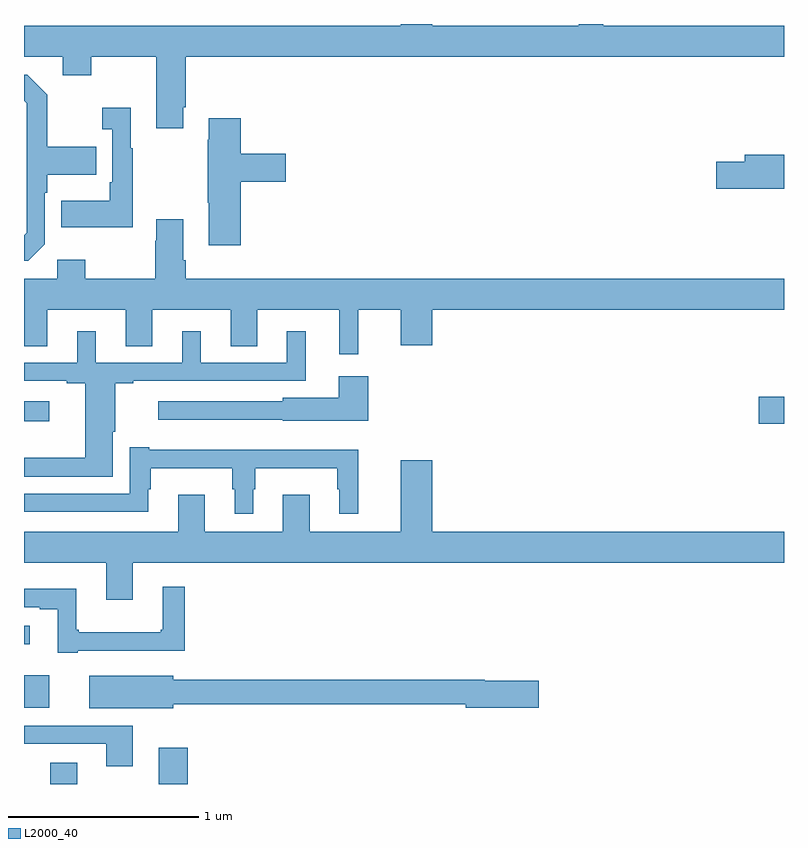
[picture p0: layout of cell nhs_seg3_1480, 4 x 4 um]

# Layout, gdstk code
import gdstk
lib = gdstk.Library(unit=1e-6, precision=1e-09)
def R(c, l, rs):  # rectangles x0, y0, x1, y1
    for r in rs: c.add(gdstk.rectangle(r[:2], r[2:], *l))
def P(c, l, *ps):  # polygons
    for p in ps: c.add(gdstk.Polygon(p, *l))
L2000_40 = (2000, 40)

nhs_seg3_1480 = lib.new_cell('nhs_seg3_1480')
R(nhs_seg3_1480, L2000_40, [(187.139,718.4,187.279,718.513), (187.709,718.4,187.862,718.591), (187,718.802,187.132,718.972), (187,719.136,187.03,719.232), (190.866,720.296,191,720.438), (187,720.308,187.132,720.415)])
P(nhs_seg3_1480, L2000_40, [(187.837,721.963),(187.85,721.963),(187.85,722.228),(191,722.228),(191,722.392),(190.049,722.392),(190.049,722.4),(189.921,722.4),(189.921,722.392),(189.148,722.392),(189.148,722.4),(188.984,722.4),(188.984,722.392),(187,722.392),(187,722.228),(187.205,722.228),(187.205,722.129),(187.353,722.129),(187.353,722.228),(187.697,722.228),(187.697,721.851),(187.837,721.851)],
  [(187.11,721.242),(187.11,721.511),(187.123,721.511),(187.123,721.607),(187.379,721.607),(187.379,721.755),(187.123,721.755),(187.123,722.027),(187.017,722.133),(187,722.133),(187,721.997),(187.014,721.983),(187.014,721.302),(187,721.288),(187,721.155),(187.023,721.155)],
  [(187.573,721.747),(187.561,721.747),(187.561,721.96),(187.413,721.96),(187.413,721.847),(187.464,721.847),(187.464,721.567),(187.452,721.567),(187.452,721.471),(187.195,721.471),(187.195,721.331),(187.573,721.331)],
  [(188.141,721.571),(188.377,721.571),(188.377,721.718),(188.141,721.718),(188.141,721.903),(187.973,721.903),(187.973,721.79),(187.966,721.79),(187.966,721.459),(187.973,721.459),(187.973,721.236),(188.141,721.236)],
  [(191,721.712),(190.793,721.712),(190.793,721.676),(190.644,721.676),(190.644,721.534),(191,721.534)],
  [(188.76,720.896),(188.984,720.896),(188.984,720.708),(189.148,720.708),(189.148,720.896),(191,720.896),(191,721.06),(187.85,721.06),(187.85,721.156),(187.837,721.156),(187.837,721.372),(187.697,721.372),(187.697,721.259),(187.69,721.259),(187.69,721.06),(187.323,721.06),(187.323,721.159),(187.176,721.159),(187.176,721.06),(187,721.06),(187,720.703),(187.123,720.703),(187.123,720.896),(187.535,720.896),(187.535,720.703),(187.675,720.703),(187.675,720.896),(188.087,720.896),(188.087,720.703),(188.227,720.703),(188.227,720.896),(188.66,720.896),(188.66,720.663),(188.76,720.663)],
  [(187.468,720.255),(187.48,720.255),(187.48,720.51),(187.576,720.51),(187.576,720.522),(188.483,720.522),(188.483,720.784),(188.384,720.784),(188.384,720.618),(187.93,720.618),(187.93,720.784),(187.832,720.784),(187.832,720.618),(187.378,720.618),(187.378,720.784),(187.28,720.784),(187.28,720.618),(187,720.618),(187,720.522),(187.226,720.522),(187.226,720.51),(187.322,720.51),(187.322,720.116),(187,720.116),(187,720.018),(187.468,720.018)],
  [(188.813,720.547),(188.657,720.547),(188.657,720.433),(188.361,720.433),(188.361,720.414),(187.707,720.414),(187.707,720.317),(188.361,720.317),(188.361,720.311),(188.813,720.311)],
  [(188.206,719.951),(188.218,719.951),(188.218,720.062),(188.649,720.062),(188.649,719.951),(188.66,719.951),(188.66,719.823),(188.76,719.823),(188.76,720.16),(187.66,720.16),(187.66,720.172),(187.557,720.172),(187.557,719.928),(187,719.928),(187,719.832),(187.654,719.832),(187.654,719.951),(187.666,719.951),(187.666,720.062),(188.097,720.062),(188.097,719.951),(188.108,719.951),(188.108,719.823),(188.206,719.823)],
  [(187.573,719.564),(191,719.564),(191,719.728),(189.148,719.728),(189.148,720.103),(188.984,720.103),(188.984,719.728),(188.503,719.728),(188.503,719.923),(188.363,719.923),(188.363,719.728),(187.951,719.728),(187.951,719.923),(187.811,719.923),(187.811,719.728),(187,719.728),(187,719.564),(187.433,719.564),(187.433,719.37),(187.573,719.37)],
  [(187.282,719.102),(187.847,719.102),(187.847,719.437),(187.73,719.437),(187.73,719.212),(187.719,719.212),(187.719,719.2),(187.288,719.2),(187.288,719.212),(187.276,719.212),(187.276,719.428),(187,719.428),(187,719.331),(187.082,719.331),(187.082,719.319),(187.178,719.319),(187.178,719.091),(187.282,719.091)],
  [(187.786,718.821),(189.324,718.821),(189.324,718.801),(189.709,718.801),(189.709,718.943),(189.424,718.943),(189.424,718.949),(187.786,718.949),(187.786,718.969),(187.343,718.969),(187.343,718.799),(187.786,718.799)],
  [(187.573,718.707),(187,718.707),(187,718.611),(187.433,718.611),(187.433,718.494),(187.573,718.494)])

lib.write_gds('nhs_seg3_1480.gds')
